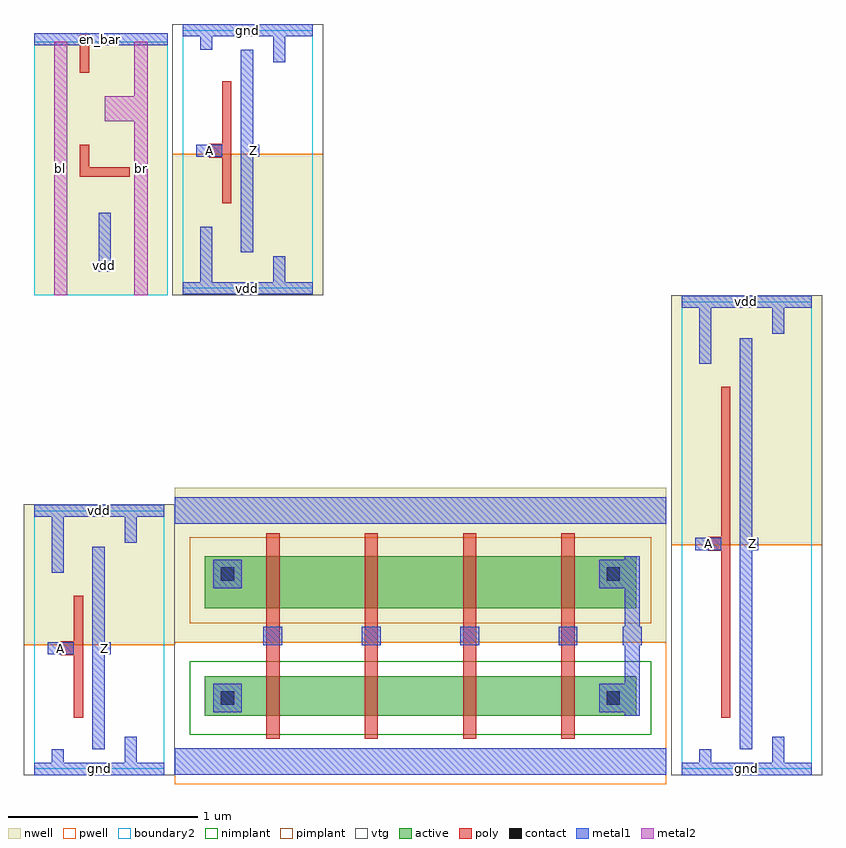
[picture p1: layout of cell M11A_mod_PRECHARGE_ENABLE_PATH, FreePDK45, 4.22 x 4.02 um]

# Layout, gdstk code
import gdstk
lib = gdstk.Library(unit=1e-6, precision=1e-09)
def R(c, l, rs):  # rectangles x0, y0, x1, y1
    for r in rs: c.add(gdstk.rectangle(r[:2], r[2:], *l))
def A(c, l, x, y, w, h, nx, ny, dx, dy):  # array of equal rectangles
    R(c, l, [(x+i*dx, y+j*dy, x+i*dx+w, y+j*dy+h) for i in range(nx) for j in range(ny)])
active = (1, 0)
pwell = (2, 0)
nwell = (3, 0)
nimplant = (4, 0)
pimplant = (5, 0)
vtg = (6, 0)
poly = (9, 0)
contact = (10, 0)
metal1 = (11, 0)
metal2 = (13, 0)
boundary2 = (239, 0)

m11a_mod_precharge_enabl = lib.new_cell('M11A_mod_PRECHARGE_ENABLE_PATH')
R(m11a_mod_precharge_enabl, active, [(0.982,0.36,3.262,0.57), (0.982,0.93,3.262,1.205)])
R(m11a_mod_precharge_enabl, pwell, [(0.822,0,3.422,0.75), (0.025,0.047,0.823,0.735), (3.448,0.047,4.246,1.265), (0.81,3.33,1.608,4.018)])
R(m11a_mod_precharge_enabl, nwell, [(0.025,0.735,0.823,1.48), (0.822,0.75,3.422,1.565), (3.448,1.265,4.246,2.585), (0.08,2.585,0.785,3.925), (0.81,2.585,1.608,3.33)])
R(m11a_mod_precharge_enabl, nimplant, [(0.902,0.26,3.342,0.65)])
R(m11a_mod_precharge_enabl, pimplant, [(0.902,0.85,3.342,1.305)])
R(m11a_mod_precharge_enabl, vtg, [(0.025,0.047,0.823,0.735), (3.448,0.047,4.246,1.265), (0.025,0.735,0.823,1.48), (3.448,1.265,4.246,2.585), (0.81,2.585,1.608,3.33), (0.81,3.33,1.608,4.018)])
A(m11a_mod_precharge_enabl, poly, 1.307, 0.24, 0.07, 1.085, 4, 1, 0.52, 0)
R(m11a_mod_precharge_enabl, poly, [(0.288,0.35,0.338,0.995), (3.711,0.35,3.761,2.1), (0.22,0.68,0.288,0.755), (3.643,1.233,3.711,1.308), (1.073,3.07,1.123,3.715), (0.32,3.21,0.37,3.38), (0.32,3.21,0.585,3.26), (1.005,3.31,1.073,3.385), (0.32,3.76,0.37,3.938), (0.32,3.912,0.37,3.962), (0.345,3.912,0.37,3.962)])
R(m11a_mod_precharge_enabl, contact, [(1.067,0.42,1.137,0.49), (3.107,0.42,3.177,0.49), (1.067,1.075,1.137,1.145), (3.107,1.075,3.177,1.145)])
A(m11a_mod_precharge_enabl, metal1, 1.292, 0.733, 0.1, 0.099, 4, 1, 0.52, 0)
R(m11a_mod_precharge_enabl, metal1, [(0.08,0.047,0.767,0.113), (0.172,0.047,0.237,0.183), (3.503,0.047,4.19,0.113), (3.595,0.047,3.66,0.183), (0.822,0.05,3.422,0.19), (2.072,0.07,2.172,0.17), (0.558,0.08,0.622,0.25), (3.981,0.08,4.045,0.25), (0.387,0.183,0.452,1.253), (3.81,0.183,3.875,2.357), (3.202,0.36,3.282,1.205), (1.027,0.38,1.177,0.53), (3.067,0.38,3.217,0.53), (0.152,0.685,0.288,0.75), (0.42,0.685,0.485,0.75), (3.192,0.733,3.292,0.832), (1.027,1.035,1.177,1.185), (3.067,1.035,3.217,1.185), (0.172,1.118,0.237,1.477), (3.575,1.237,3.711,1.302), (3.843,1.237,3.908,1.302), (0.558,1.275,0.622,1.445), (0.822,1.375,3.422,1.515), (2.072,1.395,2.172,1.495), (0.08,1.412,0.767,1.477), (3.595,2.223,3.66,2.582), (3.981,2.38,4.045,2.55), (3.503,2.517,4.19,2.582), (0.865,2.588,1.552,2.653), (0.957,2.588,1.022,2.947), (1.343,2.62,1.407,2.79), (0.42,2.707,0.485,2.772), (0.42,2.74,0.485,3.02), (1.172,2.812,1.237,3.882), (0.937,3.315,1.073,3.38), (1.205,3.315,1.27,3.38), (1.343,3.815,1.407,3.985), (0.957,3.882,1.022,4.018), (0.08,3.905,0.785,3.97), (0.865,3.952,1.552,4.018)])
R(m11a_mod_precharge_enabl, metal2, [(0.185,2.585,0.255,3.925), (0.185,2.585,0.255,3.925), (0.61,2.585,0.68,3.925), (0.61,2.585,0.68,3.925), (0.22,2.953,0.237,3.088), (0.645,2.953,0.668,3.088), (0.22,3.503,0.237,3.637), (0.452,3.503,0.645,3.637)])
R(m11a_mod_precharge_enabl, boundary2, [(0.08,0.08,0.767,1.445), (0.08,0.08,0.767,1.445), (3.503,0.08,4.19,2.55), (3.503,0.08,4.19,2.55), (0.08,2.585,0.785,3.925), (0.865,2.62,1.552,3.985), (0.865,2.62,1.552,3.985)])
m11a_mod_precharge_enabl.add(gdstk.Label('A', (0.22,0.718), layer=11, texttype=0))
m11a_mod_precharge_enabl.add(gdstk.Label('Z', (0.452,0.718), layer=11, texttype=0))
m11a_mod_precharge_enabl.add(gdstk.Label('gnd', (0.425,0.08), layer=11, texttype=0))
m11a_mod_precharge_enabl.add(gdstk.Label('vdd', (0.425,1.445), layer=11, texttype=0))
m11a_mod_precharge_enabl.add(gdstk.Label('A', (1.005,3.347), layer=11, texttype=0))
m11a_mod_precharge_enabl.add(gdstk.Label('Z', (1.237,3.347), layer=11, texttype=0))
m11a_mod_precharge_enabl.add(gdstk.Label('gnd', (1.21,3.985), layer=11, texttype=0))
m11a_mod_precharge_enabl.add(gdstk.Label('vdd', (1.21,2.62), layer=11, texttype=0))
m11a_mod_precharge_enabl.add(gdstk.Label('en_bar', (0.432,3.938), layer=11, texttype=0))
m11a_mod_precharge_enabl.add(gdstk.Label('vdd', (0.452,2.74), layer=11, texttype=0))
m11a_mod_precharge_enabl.add(gdstk.Label('bl', (0.22,3.255), layer=13, texttype=0))
m11a_mod_precharge_enabl.add(gdstk.Label('br', (0.645,3.255), layer=13, texttype=0))
m11a_mod_precharge_enabl.add(gdstk.Label('A', (3.643,1.27), layer=11, texttype=0))
m11a_mod_precharge_enabl.add(gdstk.Label('Z', (3.875,1.27), layer=11, texttype=0))
m11a_mod_precharge_enabl.add(gdstk.Label('gnd', (3.848,0.08), layer=11, texttype=0))
m11a_mod_precharge_enabl.add(gdstk.Label('vdd', (3.848,2.55), layer=11, texttype=0))

lib.write_gds('M11A_mod_PRECHARGE_ENABLE_PATH.gds')
